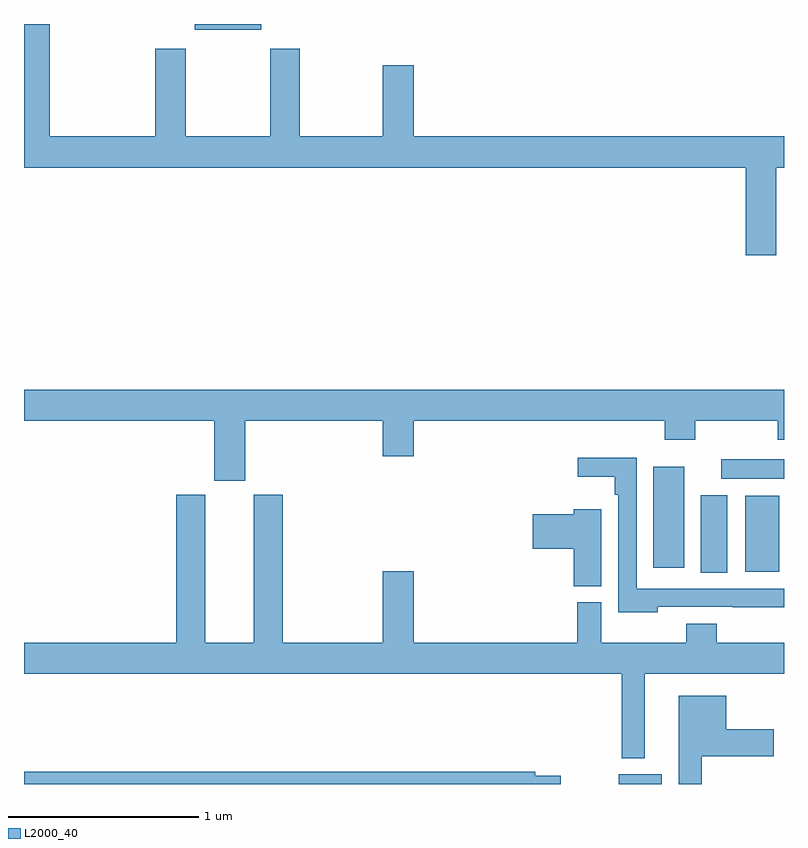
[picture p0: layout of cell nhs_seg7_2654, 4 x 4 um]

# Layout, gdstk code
import gdstk
lib = gdstk.Library(unit=1e-6, precision=1e-09)
def R(c, l, rs):  # rectangles x0, y0, x1, y1
    for r in rs: c.add(gdstk.rectangle(r[:2], r[2:], *l))
def P(c, l, *ps):  # polygons
    for p in ps: c.add(gdstk.Polygon(p, *l))
L2000_40 = (2000, 40)

nhs_seg7_2654 = lib.new_cell('nhs_seg7_2654')
R(nhs_seg7_2654, L2000_40, [(286.13,1036,286.357,1036.051), (286.562,1037.113,286.702,1037.521), (286.796,1037.117,286.975,1037.518), (286.313,1037.139,286.474,1037.671), (286.671,1037.606,287,1037.71), (283.898,1039.97,284.248,1040)])
P(nhs_seg7_2654, L2000_40, [(286.959,1039.244),(287,1039.244),(287,1039.408),(285.052,1039.408),(285.052,1039.783),(284.888,1039.783),(284.888,1039.408),(284.451,1039.408),(284.451,1039.87),(284.296,1039.87),(284.296,1039.408),(283.851,1039.408),(283.851,1039.87),(283.691,1039.87),(283.691,1039.408),(283.136,1039.408),(283.136,1040),(283,1040),(283,1039.244),(286.799,1039.244),(286.799,1038.783),(286.959,1038.783)],
  [(284.164,1037.912),(284.888,1037.912),(284.888,1037.724),(285.052,1037.724),(285.052,1037.912),(286.373,1037.912),(286.373,1037.813),(286.533,1037.813),(286.533,1037.912),(286.966,1037.912),(286.966,1037.813),(287,1037.813),(287,1038.076),(283,1038.076),(283,1037.912),(284,1037.912),(284,1037.595),(284.164,1037.595)],
  [(286.335,1036.932),(286.729,1036.932),(286.729,1036.93),(287,1036.93),(287,1037.028),(286.224,1037.028),(286.224,1037.717),(285.915,1037.717),(285.915,1037.618),(286.108,1037.618),(286.108,1037.522),(286.128,1037.522),(286.128,1036.904),(286.335,1036.904)],
  [(286.267,1036.58),(287,1036.58),(287,1036.744),(286.646,1036.744),(286.646,1036.843),(286.486,1036.843),(286.486,1036.744),(286.039,1036.744),(286.039,1036.956),(285.911,1036.956),(285.911,1036.744),(285.052,1036.744),(285.052,1037.119),(284.888,1037.119),(284.888,1036.744),(284.363,1036.744),(284.363,1037.523),(284.21,1037.523),(284.21,1036.744),(283.954,1036.744),(283.954,1037.523),(283.802,1037.523),(283.802,1036.744),(283,1036.744),(283,1036.58),(286.146,1036.58),(286.146,1036.136),(286.267,1036.136)],
  [(286.039,1037.446),(285.893,1037.446),(285.893,1037.42),(285.678,1037.42),(285.678,1037.237),(285.893,1037.237),(285.893,1037.041),(286.039,1037.041)],
  [(286.567,1036.145),(286.945,1036.145),(286.945,1036.287),(286.696,1036.287),(286.696,1036.465),(286.445,1036.465),(286.445,1036),(286.567,1036)],
  [(285.826,1036.044),(285.692,1036.044),(285.692,1036.064),(283,1036.064),(283,1036),(285.826,1036)])

lib.write_gds('nhs_seg7_2654.gds')
